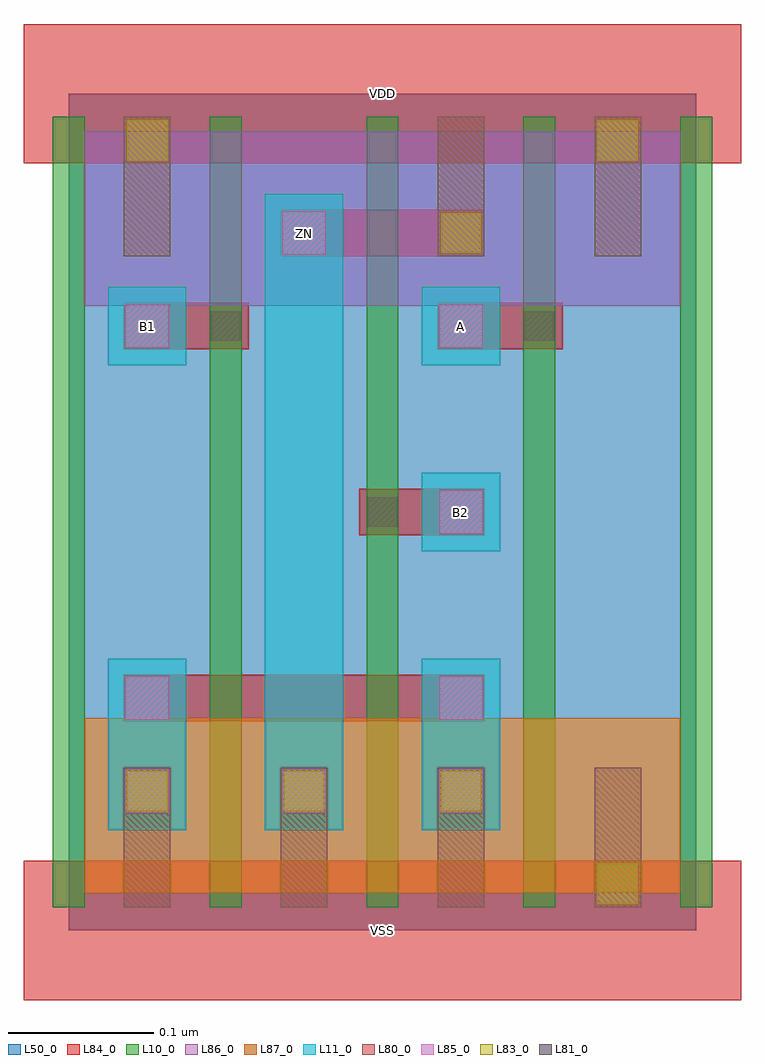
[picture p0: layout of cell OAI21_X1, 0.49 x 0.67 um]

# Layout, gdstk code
import gdstk
lib = gdstk.Library(unit=1e-6, precision=1e-09)
def R(c, l, rs):  # rectangles x0, y0, x1, y1
    for r in rs: c.add(gdstk.rectangle(r[:2], r[2:], *l))
def A(c, l, x, y, w, h, nx, ny, dx, dy):  # array of equal rectangles
    R(c, l, [(x+i*dx, y+j*dy, x+i*dx+w, y+j*dy+h) for i in range(nx) for j in range(ny)])
L10_0 = (10, 0)
L11_0 = (11, 0)
L50_0 = (50, 0)
L80_0 = (80, 0)
L81_0 = (81, 0)
L83_0 = (83, 0)
L84_0 = (84, 0)
L85_0 = (85, 0)
L86_0 = (86, 0)
L87_0 = (87, 0)

oai21_x1 = lib.new_cell('OAI21_X1')
A(oai21_x1, L10_0, -0.011, 0.016, 0.022, 0.544, 5, 1, 0.108, 0)
R(oai21_x1, L11_0, [(0.027,0.069,0.081,0.187), (0.135,0.069,0.189,0.507), (0.243,0.069,0.297,0.187), (0.243,0.261,0.297,0.315), (0.027,0.389,0.081,0.443), (0.243,0.389,0.297,0.443)])
R(oai21_x1, L50_0, [(0,0,0.432,0.576)])
A(oai21_x1, L80_0, 0.038, 0.016, 0.032, 0.096, 4, 1, 0.108, 0)
R(oai21_x1, L80_0, [(0.038,0.464,0.07,0.56), (0.254,0.464,0.286,0.56), (0.362,0.464,0.394,0.56)])
R(oai21_x1, L81_0, [(0.206,0.278,0.226,0.298), (0.098,0.406,0.118,0.426), (0.314,0.406,0.334,0.426)])
A(oai21_x1, L83_0, 0.04, 0.082, 0.028, 0.028, 3, 1, 0.108, 0)
R(oai21_x1, L83_0, [(0.364,0.018,0.392,0.046), (0.256,0.466,0.284,0.494), (0.04,0.53,0.068,0.558), (0.364,0.53,0.392,0.558)])
A(oai21_x1, L84_0, 0.038, 0.08, 0.032, 0.032, 3, 1, 0.108, 0)
R(oai21_x1, L84_0, [(-0.031,-0.048,0.463,0.048), (0.038,0.144,0.286,0.176), (0.2,0.272,0.286,0.304), (0.038,0.4,0.124,0.432), (0.254,0.4,0.34,0.432), (0.146,0.464,0.286,0.496), (-0.031,0.528,0.463,0.624)])
A(oai21_x1, L85_0, 0.039, 0.081, 0.03, 0.03, 3, 1, 0.108, 0)
A(oai21_x1, L85_0, 0.255, 0.145, 0.03, 0.03, 1, 3, 0, 0.128)
R(oai21_x1, L85_0, [(0.039,0.145,0.069,0.175), (0.039,0.401,0.069,0.431), (0.147,0.465,0.177,0.495)])
R(oai21_x1, L86_0, [(0.011,0.43,0.421,0.55)])
R(oai21_x1, L87_0, [(0.011,0.026,0.421,0.146)])
oai21_x1.add(gdstk.Label('VDD', (0.216,0.576), layer=88, texttype=0))
oai21_x1.add(gdstk.Label('VSS', (0.216,0), layer=88, texttype=0))
oai21_x1.add(gdstk.Label('ZN', (0.162,0.48), layer=31, texttype=0))
oai21_x1.add(gdstk.Label('B2', (0.27,0.288), layer=31, texttype=0))
oai21_x1.add(gdstk.Label('B1', (0.054,0.416), layer=31, texttype=0))
oai21_x1.add(gdstk.Label('A', (0.27,0.416), layer=31, texttype=0))

lib.write_gds('OAI21_X1.gds')
